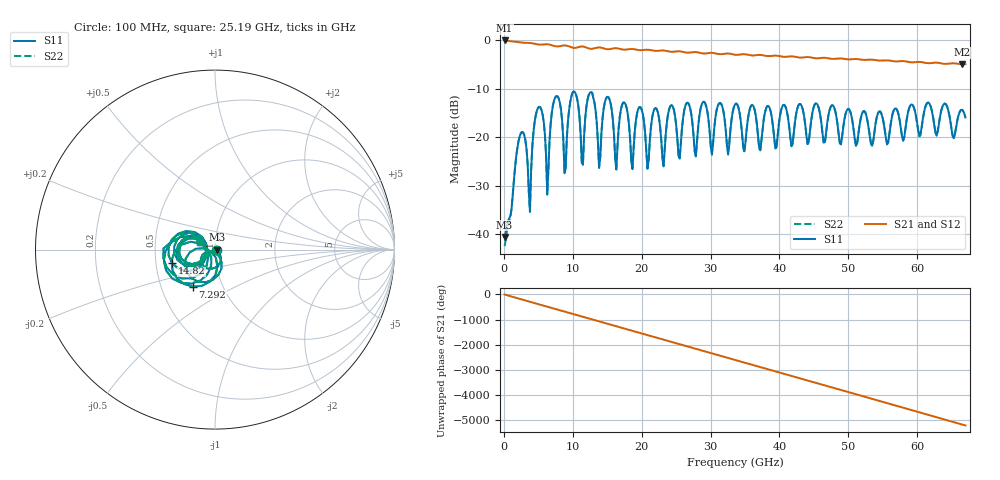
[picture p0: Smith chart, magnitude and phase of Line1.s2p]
! Touchstone file exported from HFSS 2021.2.0
!  File:  D:/20220920 new project/ISC_3rd_design/NewISC_3_with_imtiaz_dim_connector.aedt
!  Generated:  1:07:22 AM  Aug 03, 2023
!  Design:  Line1_1
!  Project:  NewISC_3_with_imtiaz_dim_connector
!  Setup:  Setup2
!  Solution:  Sweep
! Variables:
!  $_L_pin_on = 0.01nH
!  $_R_pin_on = 1ohm
!  Con_T = 0.012mm
!  Con_W = 0.11534mm
!  DUT = 26.2374mm
!  Gap = 0.71534mm
!  Gap_connector_vias = 1mm
!  L1 = 22.21mm
!  Radius = 0.225mm
!  Space = 0.837mm
!  Sub_L = 9.5988mm
!  Sub_T = 0.05mm
!  Sub_W = 13.8408mm
!  Vias_N = 40
!  Vias_gap = 1.01045128205128mm
!  quater_wave_L = 1.2798mm
# GHz S RI R 50.000000
! Terminal data exported
! Port[1] = 1
! Port[2] = 2
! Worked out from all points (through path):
!   401 points, 100 MHz to 67 GHz, reference 50 ohm
!   highest |S21| = -0.09 dB at 100 MHz (marker M1); lowest = -5.0 dB at 66.5 GHz (marker M2)
!   group delay of S21, straight-line fit = 216 ps
!   lowest |S11| = -40.5 dB at 100 MHz (marker M3), VSWR 1.02, Z = 50.9 - j0.103 ohm
!   |S11| at or under -10 dB: start of sweep to end of sweep
!   |S22| runs from -42.4 to -10.6 dB; largest |S21 - S12| = 2.5e-14
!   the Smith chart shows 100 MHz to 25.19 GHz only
!   S11 on the Smith chart (normalised r, x): 100 MHz: 1.02, -0.00; 7.292 GHz: 0.72, -0.32; 14.82 GHz: 0.61, -0.10; 25.19 GHz: 0.84, +0.08
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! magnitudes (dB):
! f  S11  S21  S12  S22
! 100 MHz  -40.5  -0.1  -0.1  -42.4
! 2.274 GHz  -19.9  -0.5  -0.5  -19.9
! 3.78 GHz  -35.4  -0.6  -0.6  -35.1
! 5.285 GHz  -13.9  -0.9  -0.9  -13.8
! 6.288 GHz  -31.8  -0.9  -0.9  -31.5
! 7.292 GHz  -12.4  -1.2  -1.2  -12.4
! 8.964 GHz  -26.5  -1.1  -1.1  -26.2
! 10.3 GHz  -10.7  -1.6  -1.6  -10.7
! 11.31 GHz  -25.2  -1.3  -1.3  -25.1
! 12.48 GHz  -10.8  -1.8  -1.8  -10.8
! 14.82 GHz  -12.0  -1.9  -1.9  -12.0
! 16.32 GHz  -26.7  -1.7  -1.7  -26.2
! 17.33 GHz  -12.9  -2.0  -2.0  -12.9
! 18.66 GHz  -26.6  -1.8  -1.8  -26.3
! 22.51 GHz  -16.0  -2.2  -2.2  -16.0
! 25.19 GHz  -20.5  -2.3  -2.3  -20.4
! 33.72 GHz  -13.1  -3.0  -3.0  -13.1
! 34.89 GHz  -22.9  -2.9  -2.9  -23.1
! 44.76 GHz  -15.2  -3.6  -3.6  -15.2
! 55.96 GHz  -19.5  -4.2  -4.2  -19.2
! 66.5 GHz  -14.4  -5.0  -5.0  -14.3
! 67 GHz  -15.9  -5.0  -5.0  -15.9
